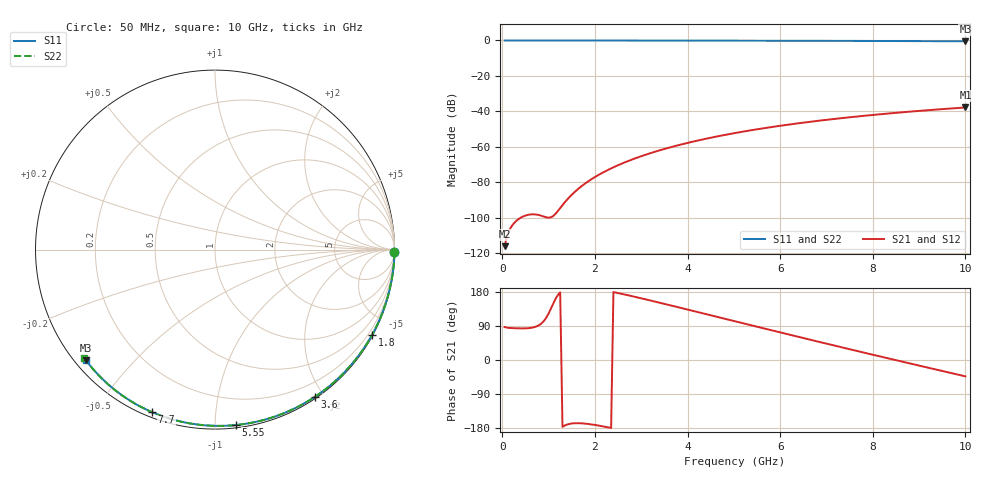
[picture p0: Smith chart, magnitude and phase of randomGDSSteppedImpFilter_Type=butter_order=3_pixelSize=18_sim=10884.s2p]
! freq	dB(S11)	phase(S11)	dB(S12)	phase(S12)
!  dB(S21)	phase(S21)	dB(S22)	phase(S22)
!S-par simulation data
#  GHz  S  DB  R 50
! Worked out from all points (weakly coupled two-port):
!   200 points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, 50 MHz to 10 GHz, reference 50 ohm
!   highest |S21| = -37.77 dB at 10 GHz (marker M1); lowest = -115.9 dB at 50 MHz (marker M2)
!   lowest |S11| = -0.5 dB at 10 GHz (marker M3), VSWR 36.84, Z = 1.54 - j18.5 ohm
!   |S11| at or under -10 dB: nowhere
!   |S22| runs from -0.5 to 0.0 dB; largest |S21 - S12| = 0
!   S11 on the Smith chart (normalised r, x): 50 MHz: open; 1.8 GHz: 0.03, -3.93; 3.6 GHz: 0.02, -1.89; 5.55 GHz: 0.02, -1.13; 7.7 GHz: 0.02, -0.69; 10 GHz: 0.03, -0.37
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0.05  -0.00 -0.8  -115.94 87.0  -115.94 87.0  -0.00 -0.8
0.45  -0.01 -7.2  -99.19 83.3  -99.19 83.3  -0.01 -7.3
0.9  -0.02 -14.4  -99.26 103.2  -99.26 103.2  -0.02 -14.6
1.75  -0.04 -27.8  -81.35 -167.5  -81.35 -167.5  -0.04 -28.0
1.8  -0.04 -28.6  -80.40 -168.0  -80.40 -168.0  -0.04 -28.8
1.85  -0.04 -29.3  -79.49 -168.7  -79.49 -168.7  -0.04 -29.6
2.05  -0.04 -32.4  -76.21 -172.4  -76.21 -172.4  -0.04 -32.7
2.2  -0.04 -34.8  -74.06 -175.7  -74.06 -175.7  -0.04 -35.1
2.55  -0.05 -40.1  -69.74 175.4  -69.74 175.4  -0.05 -40.5
2.95  -0.06 -46.2  -65.69 164.3  -65.69 164.3  -0.06 -46.6
3.4  -0.07 -52.8  -61.90 151.1  -61.90 151.1  -0.07 -53.3
3.6  -0.08 -55.8  -60.42 145.2  -60.42 145.2  -0.08 -56.3
3.9  -0.08 -60.2  -58.37 136.2  -58.37 136.2  -0.08 -60.7
4.3  -0.09 -65.9  -55.94 124.1  -55.94 124.1  -0.09 -66.4
5.05  -0.12 -76.4  -52.06 101.4  -52.06 101.4  -0.12 -77.0
5.55  -0.14 -83.2  -49.86 86.4  -49.86 86.4  -0.14 -83.9
6.1  -0.16 -90.6  -47.72 69.9  -47.72 69.9  -0.16 -91.3
6.7  -0.19 -98.4  -45.67 52.0  -45.67 52.0  -0.19 -99.1
7.7  -0.25 -111.1  -42.75 22.6  -42.75 22.6  -0.26 -111.9
8.35  -0.31 -119.2  -41.13 3.8  -41.13 3.8  -0.31 -120.0
9.2  -0.38 -129.6  -39.28 -20.5  -39.28 -20.5  -0.39 -130.5
10  -0.47 -139.4  -37.77 -43.1  -37.77 -43.1  -0.47 -140.3
